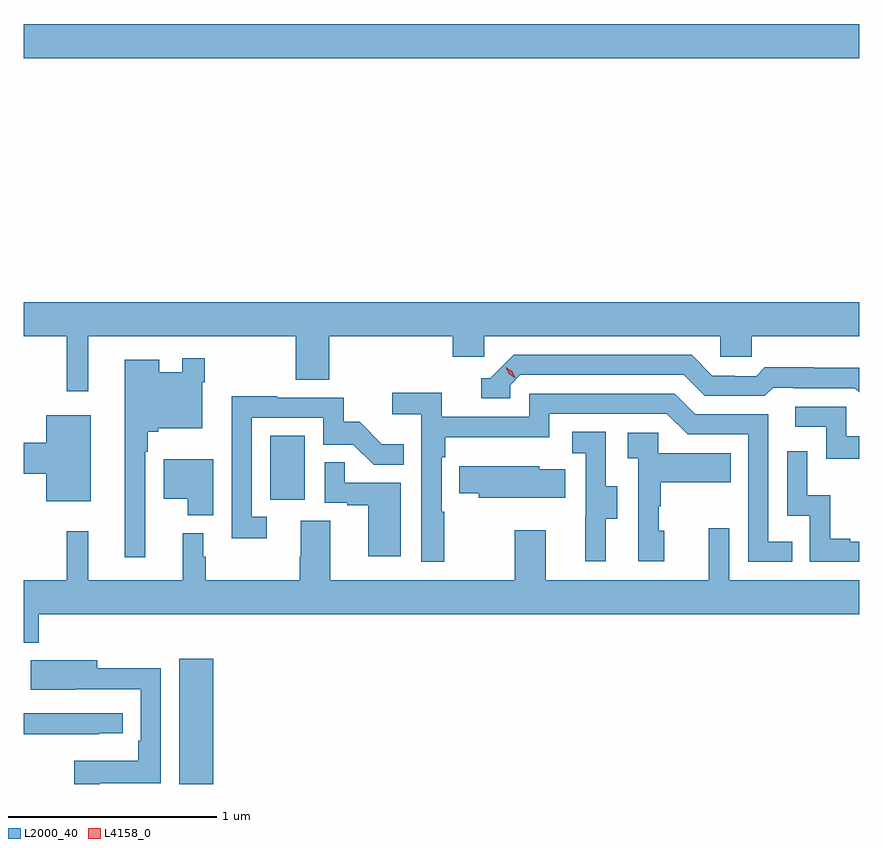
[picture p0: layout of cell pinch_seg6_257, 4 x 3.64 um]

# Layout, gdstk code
import gdstk
lib = gdstk.Library(unit=1e-6, precision=1e-09)
def R(c, l, rs):  # rectangles x0, y0, x1, y1
    for r in rs: c.add(gdstk.rectangle(r[:2], r[2:], *l))
def P(c, l, *ps):  # polygons
    for p in ps: c.add(gdstk.Polygon(p, *l))
L2000_40 = (2000, 40)
L4158_0 = (4158, 0)

pinch_seg6_257 = lib.new_cell('pinch_seg6_257')
R(pinch_seg6_257, L2000_40, [(1113.047,917.22,1113.208,917.821), (1113.482,918.582,1113.646,918.889), (1112.302,920.696,1116.302,920.86)])
P(pinch_seg6_257, L2000_40, [(1112.609,919.364),(1113.604,919.364),(1113.604,919.156),(1113.764,919.156),(1113.764,919.364),(1114.355,919.364),(1114.355,919.266),(1114.506,919.266),(1114.506,919.364),(1115.637,919.364),(1115.637,919.266),(1115.787,919.266),(1115.787,919.364),(1116.302,919.364),(1116.302,919.528),(1112.302,919.528),(1112.302,919.364),(1112.506,919.364),(1112.506,919.101),(1112.609,919.101)],
  [(1114.632,919.131),(1114.68,919.179),(1115.463,919.179),(1115.562,919.08),(1115.851,919.08),(1115.89,919.119),(1115.989,919.119),(1115.989,919.116),(1116.282,919.116),(1116.302,919.096),(1116.302,919.213),(1116.084,919.213),(1116.084,919.216),(1115.851,919.216),(1115.809,919.173),(1115.706,919.173),(1115.706,919.176),(1115.599,919.176),(1115.5,919.275),(1114.647,919.275),(1114.536,919.164),(1114.493,919.164),(1114.493,919.068),(1114.632,919.068)],
  [(1112.883,918.812),(1112.896,918.812),(1112.896,918.908),(1112.946,918.908),(1112.946,918.923),(1113.156,918.923),(1113.156,919.145),(1113.169,919.145),(1113.169,919.258),(1113.06,919.258),(1113.06,919.192),(1112.95,919.192),(1112.95,919.252),(1112.786,919.252),(1112.786,918.306),(1112.883,918.306)],
  [(1114.315,918.524),(1114.302,918.524),(1114.302,918.785),(1114.319,918.785),(1114.319,918.881),(1114.818,918.881),(1114.818,918.993),(1115.382,918.993),(1115.481,918.894),(1115.772,918.894),(1115.772,918.285),(1115.981,918.285),(1115.981,918.381),(1115.868,918.381),(1115.868,918.99),(1115.518,918.99),(1115.419,919.089),(1114.722,919.089),(1114.722,918.978),(1114.304,918.978),(1114.304,919.094),(1114.065,919.094),(1114.065,918.992),(1114.206,918.992),(1114.206,918.285),(1114.315,918.285)],
  [(1113.466,918.501),(1113.393,918.501),(1113.393,918.975),(1113.735,918.975),(1113.735,918.846),(1113.879,918.846),(1113.977,918.748),(1114.121,918.748),(1114.121,918.847),(1114.017,918.847),(1113.91,918.954),(1113.834,918.954),(1113.834,919.071),(1113.515,919.071),(1113.515,919.076),(1113.297,919.076),(1113.297,918.396),(1113.466,918.396)],
  [(1116.302,918.885),(1116.24,918.885),(1116.24,919.026),(1115.997,919.026),(1115.997,918.93),(1116.144,918.93),(1116.144,918.777),(1116.302,918.777)],
  [(1112.623,918.985),(1112.408,918.985),(1112.408,918.854),(1112.302,918.854),(1112.302,918.707),(1112.408,918.707),(1112.408,918.575),(1112.623,918.575)],
  [(1115.089,918.49),(1115.143,918.49),(1115.143,918.645),(1115.088,918.645),(1115.088,918.908),(1114.929,918.908),(1114.929,918.805),(1114.992,918.805),(1114.992,918.501),(1114.991,918.501),(1114.991,918.288),(1115.089,918.288)],
  [(1115.368,918.432),(1115.343,918.432),(1115.343,918.551),(1115.353,918.551),(1115.353,918.665),(1115.687,918.665),(1115.687,918.805),(1115.34,918.805),(1115.34,918.903),(1115.193,918.903),(1115.193,918.779),(1115.244,918.779),(1115.244,918.288),(1115.368,918.288)],
  [(1116.302,918.381),(1116.259,918.381),(1116.259,918.394),(1116.164,918.394),(1116.164,918.602),(1116.054,918.602),(1116.054,918.814),(1115.958,918.814),(1115.958,918.504),(1116.066,918.504),(1116.066,918.285),(1116.302,918.285)],
  [(1113.208,918.775),(1112.972,918.775),(1112.972,918.587),(1113.086,918.587),(1113.086,918.506),(1113.208,918.506)],
  [(1114.108,918.663),(1113.839,918.663),(1113.839,918.761),(1113.744,918.761),(1113.744,918.567),(1113.851,918.567),(1113.851,918.555),(1113.95,918.555),(1113.95,918.312),(1114.108,918.312)],
  [(1114.895,918.727),(1114.77,918.727),(1114.77,918.742),(1114.498,918.742),(1114.498,918.741),(1114.387,918.741),(1114.387,918.613),(1114.481,918.613),(1114.481,918.59),(1114.895,918.59)],
  [(1112.372,918.032),(1116.302,918.032),(1116.302,918.196),(1115.679,918.196),(1115.679,918.445),(1115.582,918.445),(1115.582,918.196),(1114.801,918.196),(1114.801,918.436),(1114.654,918.436),(1114.654,918.196),(1113.769,918.196),(1113.769,918.482),(1113.629,918.482),(1113.629,918.308),(1113.622,918.308),(1113.622,918.196),(1113.172,918.196),(1113.172,918.308),(1113.16,918.308),(1113.16,918.421),(1113.062,918.421),(1113.062,918.196),(1112.609,918.196),(1112.609,918.43),(1112.506,918.43),(1112.506,918.196),(1112.302,918.196),(1112.302,917.897),(1112.372,917.897)],
  [(1112.665,917.223),(1112.958,917.223),(1112.958,917.774),(1112.653,917.774),(1112.653,917.812),(1112.335,917.812),(1112.335,917.672),(1112.549,917.672),(1112.549,917.673),(1112.862,917.673),(1112.862,917.428),(1112.849,917.428),(1112.849,917.332),(1112.544,917.332),(1112.544,917.22),(1112.665,917.22)],
  [(1112.663,917.463),(1112.776,917.463),(1112.776,917.559),(1112.302,917.559),(1112.302,917.458),(1112.663,917.458)])
P(pinch_seg6_257, L4158_0, [(1114.655,919.164),(1114.625,919.184),(1114.609,919.217),(1114.609,919.217),(1114.61,919.217),(1114.64,919.197),(1114.655,919.164),(1114.655,919.164)])

lib.write_gds('pinch_seg6_257.gds')
